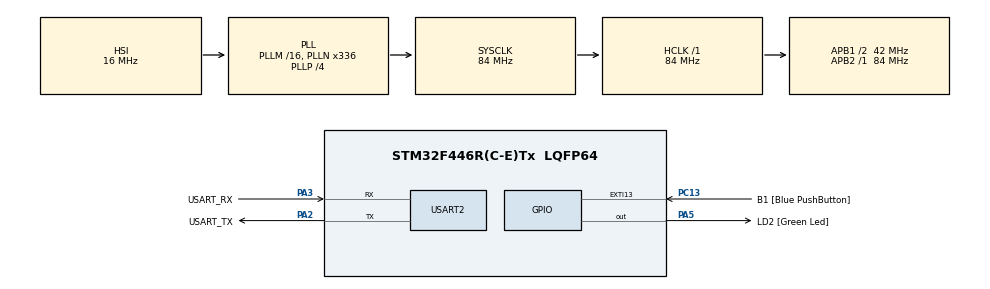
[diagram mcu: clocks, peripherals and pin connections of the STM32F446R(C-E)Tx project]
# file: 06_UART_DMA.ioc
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Dma.Request0=USART2_TX
Dma.USART2_TX.0.Direction=DMA_MEMORY_TO_PERIPH
Dma.USART2_TX.0.FIFOMode=DMA_FIFOMODE_DISABLE
Dma.USART2_TX.0.Instance=DMA1_Stream6
Dma.USART2_TX.0.MemDataAlignment=DMA_MDATAALIGN_BYTE
Dma.USART2_TX.0.MemInc=DMA_MINC_ENABLE
Dma.USART2_TX.0.Mode=DMA_NORMAL
Dma.USART2_TX.0.PeriphDataAlignment=DMA_PDATAALIGN_BYTE
Dma.USART2_TX.0.PeriphInc=DMA_PINC_DISABLE
Dma.USART2_TX.0.Priority=DMA_PRIORITY_LOW
Mcu.Family=STM32F4
Mcu.Name=STM32F446R(C-E)Tx
Mcu.Package=LQFP64
NVIC.DMA1_Stream6_IRQn=true\:0\:0\:false\:false\:true\:false\:true\:true
NVIC.PriorityGroup=NVIC_PRIORITYGROUP_0
PA13.GPIO_Label=TMS
PA13.Mode=Serial_Wire
PA13.Signal=SYS_JTMS-SWDIO
PA14.GPIO_Label=TCK
PA14.Mode=Serial_Wire
PA14.Signal=SYS_JTCK-SWCLK
PA2.GPIO_Label=USART_TX
PA2.Mode=Asynchronous
PA2.Signal=USART2_TX
PA3.GPIO_Label=USART_RX
PA3.Mode=Asynchronous
PA3.Signal=USART2_RX
PA5.GPIO_Label=LD2 [Green Led]
PA5.Signal=GPIO_Output
PB3.GPIO_Label=SWO
PB3.Signal=SYS_JTDO-SWO
PC13.GPIO_Label=B1 [Blue PushButton]
PC13.GPIO_ModeDefaultEXTI=GPIO_MODE_IT_FALLING
PC13.Signal=GPXTI13
PC14-OSC32_IN.Mode=LSE-External-Oscillator
PC14-OSC32_IN.Signal=RCC_OSC32_IN
PC15-OSC32_OUT.Mode=LSE-External-Oscillator
PC15-OSC32_OUT.Signal=RCC_OSC32_OUT
PH0-OSC_IN.Mode=HSE-External-Oscillator
PH0-OSC_IN.Signal=RCC_OSC_IN
PH1-OSC_OUT.Mode=HSE-External-Oscillator
PH1-OSC_OUT.Signal=RCC_OSC_OUT
ProjectManager.HeapSize=0x200
ProjectManager.StackSize=0x400
ProjectManager.TargetToolchain=STM32CubeIDE
RCC.48MHZClocksFreq_Value=84000000
RCC.AHBFreq_Value=84000000
RCC.APB1CLKDivider=RCC_HCLK_DIV2
RCC.APB1Freq_Value=42000000
RCC.APB1TimFreq_Value=84000000
RCC.APB2Freq_Value=84000000
RCC.APB2TimFreq_Value=84000000
RCC.CortexFreq_Value=84000000
RCC.FLatency-AdvancedSettings=FLASH_LATENCY_2
RCC.HCLKFreq_Value=84000000
RCC.HSE_VALUE=8000000
RCC.HSI_VALUE=16000000
RCC.PLLN=336
RCC.PLLP=RCC_PLLP_DIV4
RCC.SYSCLKFreq_VALUE=84000000
RCC.SYSCLKSource=RCC_SYSCLKSOURCE_PLLCLK
RCC.USBFreq_Value=168000000
RCC.VCOOutputFreq_Value=336000000
USART2.VirtualMode=VM_ASYNC
board=NUCLEO-F446RE

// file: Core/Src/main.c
/* USER CODE BEGIN Header */
/**
  ******************************************************************************
  * @file           : main.c
  * @brief          : Main program body
  ******************************************************************************
  * @attention
  *
  * Copyright (c) 2023 STMicroelectronics.
  * All rights reserved.
  *
  * This software is licensed under terms that can be found in the LICENSE file
  * in the root directory of this software component.
  * If no LICENSE file comes with this software, it is provided AS-IS.
  *
  ******************************************************************************
  */
/* USER CODE END Header */
#include "main.h"

/* USER CODE BEGIN Includes */
#include <stdio.h>
#include <string.h>
/* USER CODE END Includes */

UART_HandleTypeDef huart2;
DMA_HandleTypeDef hdma_usart2_tx;

void SystemClock_Config(void);
static void MX_GPIO_Init(void);
static void MX_DMA_Init(void);
static void MX_USART2_UART_Init(void);
/* USER CODE BEGIN PFP */
void DMATransferComplete(DMA_HandleTypeDef *hdma);
/* USER CODE END PFP */

int main(void)
{
  /* USER CODE BEGIN 1 */
	char msg[] = "Lorem ipsum dolor sit amet, "
			"per an nulla oporteat. Duo et eros justo quaestio. "
			"At libris quidam duo, graeci equidem suscipit cu nam. "
			"Vix an minim tollit efficiantur, pri vivendo intellegat at, "
			"ne sed alii consulatu temporibus. Intellegat constituto sadipscing "
			"an nec, usu legimus adipiscing ea.\n\n\n\r";
  /* USER CODE END 1 */

  /* MCU Configuration--------------------------------------------------------*/

  /* Reset of all peripherals, Initializes the Flash interface and the Systick. */
  HAL_Init();

  /* Configure the system clock */
  SystemClock_Config();

  /* Initialize all configured peripherals */
  MX_GPIO_Init();
  MX_DMA_Init();
  MX_USART2_UART_Init();
  /* USER CODE BEGIN 2 */
  HAL_DMA_RegisterCallback(&hdma_usart2_tx, HAL_DMA_XFER_CPLT_CB_ID, &DMATransferComplete);
  /* USER CODE END 2 */

  /* Infinite loop */
  /* USER CODE BEGIN WHILE */
  while (1)
  {
	  huart2.Instance->CR3 |= USART_CR3_DMAT;
	  HAL_DMA_Start_IT(&hdma_usart2_tx, (uint32_t)msg,
			  (uint32_t)&huart2.Instance->DR, strlen(msg));

	  HAL_Delay(1000);
    /* USER CODE END WHILE */

  }
}

void SystemClock_Config(void)
{
  RCC_OscInitTypeDef RCC_OscInitStruct = {0};
  RCC_ClkInitTypeDef RCC_ClkInitStruct = {0};

  /** Configure the main internal regulator output voltage
  */
  __HAL_RCC_PWR_CLK_ENABLE();
  __HAL_PWR_VOLTAGESCALING_CONFIG(PWR_REGULATOR_VOLTAGE_SCALE3);

  /** Initializes the RCC Oscillators according to the specified parameters
  * in the RCC_OscInitTypeDef structure.
  */
  RCC_OscInitStruct.OscillatorType = RCC_OSCILLATORTYPE_HSI;
  RCC_OscInitStruct.HSIState = RCC_HSI_ON;
  RCC_OscInitStruct.HSICalibrationValue = RCC_HSICALIBRATION_DEFAULT;
  RCC_OscInitStruct.PLL.PLLState = RCC_PLL_ON;
  RCC_OscInitStruct.PLL.PLLSource = RCC_PLLSOURCE_HSI;
  RCC_OscInitStruct.PLL.PLLM = 16;
  RCC_OscInitStruct.PLL.PLLN = 336;
  RCC_OscInitStruct.PLL.PLLP = RCC_PLLP_DIV4;
  RCC_OscInitStruct.PLL.PLLQ = 2;
  RCC_OscInitStruct.PLL.PLLR = 2;
  if (HAL_RCC_OscConfig(&RCC_OscInitStruct) != HAL_OK)
  {
    Error_Handler();
  }

  /** Initializes the CPU, AHB and APB buses clocks
  */
  RCC_ClkInitStruct.ClockType = RCC_CLOCKTYPE_HCLK|RCC_CLOCKTYPE_SYSCLK
                              |RCC_CLOCKTYPE_PCLK1|RCC_CLOCKTYPE_PCLK2;
  RCC_ClkInitStruct.SYSCLKSource = RCC_SYSCLKSOURCE_PLLCLK;
  RCC_ClkInitStruct.AHBCLKDivider = RCC_SYSCLK_DIV1;
  RCC_ClkInitStruct.APB1CLKDivider = RCC_HCLK_DIV2;
  RCC_ClkInitStruct.APB2CLKDivider = RCC_HCLK_DIV1;

  if (HAL_RCC_ClockConfig(&RCC_ClkInitStruct, FLASH_LATENCY_2) != HAL_OK)
  {
    Error_Handler();
  }
}

static void MX_USART2_UART_Init(void)
{

  huart2.Instance = USART2;
  huart2.Init.BaudRate = 115200;
  huart2.Init.WordLength = UART_WORDLENGTH_8B;
  huart2.Init.StopBits = UART_STOPBITS_1;
  huart2.Init.Parity = UART_PARITY_NONE;
  huart2.Init.Mode = UART_MODE_TX_RX;
  huart2.Init.HwFlowCtl = UART_HWCONTROL_NONE;
  huart2.Init.OverSampling = UART_OVERSAMPLING_16;
  if (HAL_UART_Init(&huart2) != HAL_OK)
  {
    Error_Handler();
  }

}

static void MX_DMA_Init(void)
{

  /* DMA controller clock enable */
  __HAL_RCC_DMA1_CLK_ENABLE();

  /* DMA interrupt init */
  /* DMA1_Stream6_IRQn interrupt configuration */
  HAL_NVIC_SetPriority(DMA1_Stream6_IRQn, 0, 0);
  HAL_NVIC_EnableIRQ(DMA1_Stream6_IRQn);

}

static void MX_GPIO_Init(void)
{
  GPIO_InitTypeDef GPIO_InitStruct = {0};

  /* GPIO Ports Clock Enable */
  __HAL_RCC_GPIOC_CLK_ENABLE();
  __HAL_RCC_GPIOH_CLK_ENABLE();
  __HAL_RCC_GPIOA_CLK_ENABLE();
  __HAL_RCC_GPIOB_CLK_ENABLE();

  /*Configure GPIO pin Output Level */
  HAL_GPIO_WritePin(LD2_GPIO_Port, LD2_Pin, GPIO_PIN_RESET);

  /*Configure GPIO pin : B1_Pin */
  GPIO_InitStruct.Pin = B1_Pin;
  GPIO_InitStruct.Mode = GPIO_MODE_IT_FALLING;
  GPIO_InitStruct.Pull = GPIO_NOPULL;
  HAL_GPIO_Init(B1_GPIO_Port, &GPIO_InitStruct);

  /*Configure GPIO pin : LD2_Pin */
  GPIO_InitStruct.Pin = LD2_Pin;
  GPIO_InitStruct.Mode = GPIO_MODE_OUTPUT_PP;
  GPIO_InitStruct.Pull = GPIO_NOPULL;
  GPIO_InitStruct.Speed = GPIO_SPEED_FREQ_LOW;
  HAL_GPIO_Init(LD2_GPIO_Port, &GPIO_InitStruct);

}

/* USER CODE BEGIN 4 */
void DMATransferComplete(DMA_HandleTypeDef *hdma) {
	// disable uart dma mode
	huart2.Instance->CR3 &= ~USART_CR3_DMAT;
	// toggle ld2
	HAL_GPIO_TogglePin(LD2_GPIO_Port, LD2_Pin);
}
/* USER CODE END 4 */

void Error_Handler(void)
{
  __disable_irq();
  while (1)
  {
  }
}
